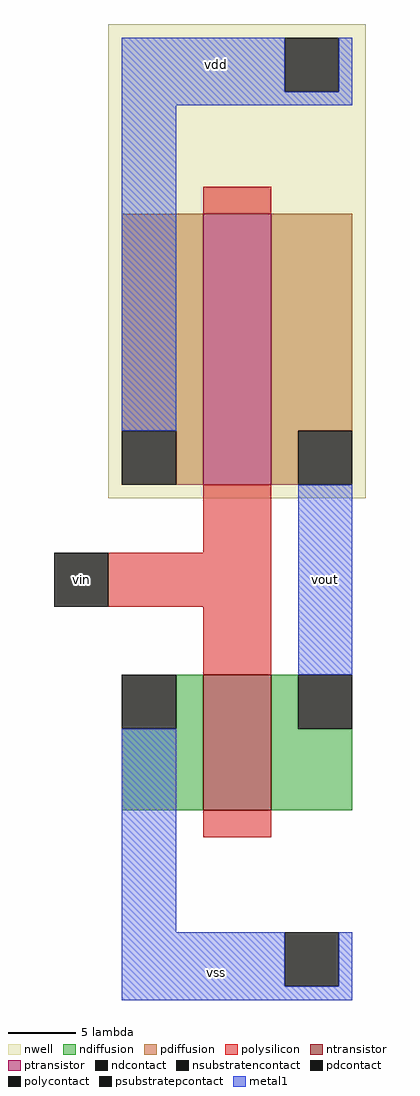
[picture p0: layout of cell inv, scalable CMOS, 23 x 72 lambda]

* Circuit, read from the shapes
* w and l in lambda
.subckt inv vdd vin vout vss
M1 vout vin vss vss nfet w=10 l=5
M2 vout vin vdd vdd pfet w=20 l=5
.ends

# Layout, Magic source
magic
tech scmos
<< nwell >>
rect -5 -33 14 2
<< polysilicon >>
rect 2 -12 7 -10
rect 2 -37 7 -32
rect -5 -41 7 -37
rect 2 -46 7 -41
rect 2 -58 7 -56
<< ndiffusion >>
rect 0 -50 2 -46
rect -4 -56 2 -50
rect 7 -50 9 -46
rect 7 -56 13 -50
<< pdiffusion >>
rect -4 -28 2 -12
rect 0 -32 2 -28
rect 7 -28 13 -12
rect 7 -32 9 -28
<< metal1 >>
rect -4 -3 8 1
rect 12 -3 13 1
rect -4 -4 13 -3
rect -4 -28 0 -4
rect 9 -46 13 -32
rect -4 -65 0 -50
rect -4 -69 8 -65
rect 12 -69 13 -65
rect -4 -70 13 -69
<< ntransistor >>
rect 2 -56 7 -46
<< ptransistor >>
rect 2 -32 7 -12
<< polycontact >>
rect -9 -41 -5 -37
<< ndcontact >>
rect -4 -50 0 -46
rect 9 -50 13 -46
<< pdcontact >>
rect -4 -32 0 -28
rect 9 -32 13 -28
<< psubstratepcontact >>
rect 8 -69 12 -65
<< nsubstratencontact >>
rect 8 -3 12 1
<< labels >>
rlabel polycontact -9 -41 -5 -37 7 vin
rlabel metal1 9 -41 13 -37 3 vout
rlabel metal1 1 -3 5 1 1 vdd
rlabel metal1 1 -70 5 -66 5 vss
<< end >>
